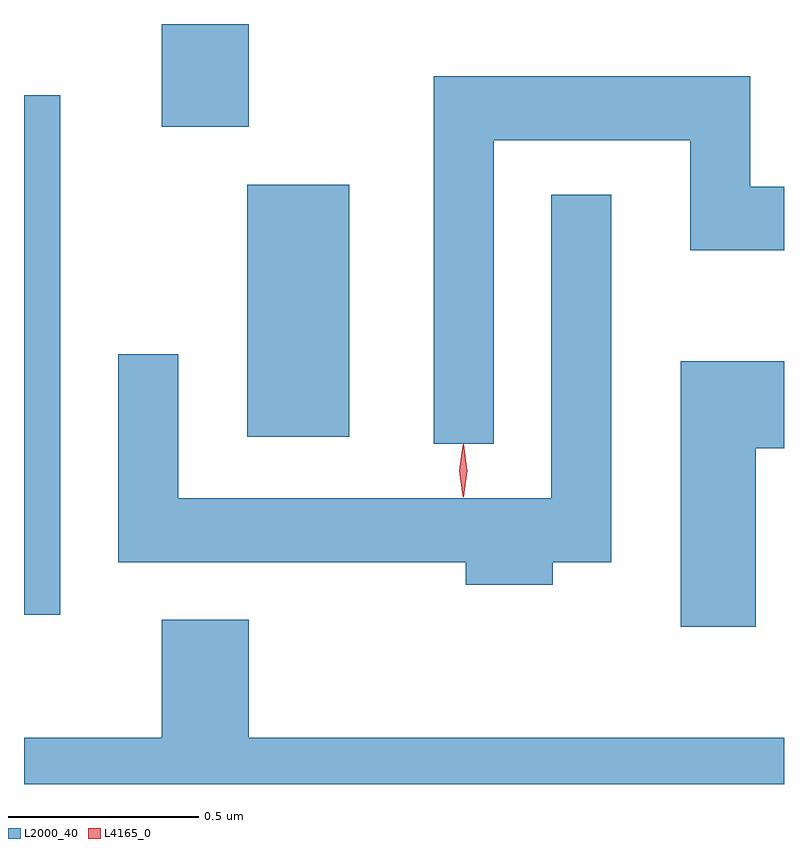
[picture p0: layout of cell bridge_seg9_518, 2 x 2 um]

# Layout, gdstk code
import gdstk
lib = gdstk.Library(unit=1e-6, precision=1e-09)
def R(c, l, rs):  # rectangles x0, y0, x1, y1
    for r in rs: c.add(gdstk.rectangle(r[:2], r[2:], *l))
def P(c, l, *ps):  # polygons
    for p in ps: c.add(gdstk.Polygon(p, *l))
L2000_40 = (2000, 40)
L4165_0 = (4165, 0)

bridge_seg9_518 = lib.new_cell('bridge_seg9_518')
R(bridge_seg9_518, L2000_40, [(557.668,1970.208,557.764,1971.574), (558.256,1970.676,558.524,1971.339), (558.031,1971.491,558.259,1971.762)])
P(bridge_seg9_518, L2000_40, [(558.904,1971.456),(559.421,1971.456),(559.421,1971.166),(559.668,1971.166),(559.668,1971.334),(559.579,1971.334),(559.579,1971.624),(558.746,1971.624),(558.746,1970.658),(558.904,1970.658)],
  [(559.059,1970.346),(559.214,1970.346),(559.214,1971.313),(559.056,1971.313),(559.056,1970.514),(558.074,1970.514),(558.074,1970.893),(557.916,1970.893),(557.916,1970.346),(558.831,1970.346),(558.831,1970.286),(559.059,1970.286)],
  [(559.594,1970.646),(559.668,1970.646),(559.668,1970.874),(559.396,1970.874),(559.396,1970.176),(559.594,1970.176)],
  [(559.668,1969.884),(558.259,1969.884),(558.259,1970.194),(558.031,1970.194),(558.031,1969.884),(557.668,1969.884),(557.668,1969.762),(559.668,1969.762)])
P(bridge_seg9_518, L4165_0, [(558.825,1970.517),(558.824,1970.518),(558.815,1970.586),(558.824,1970.656),(558.825,1970.656),(558.825,1970.656),(558.835,1970.586),(558.825,1970.518)],
  [(558.823,1970.519),(558.823,1970.52),(558.813,1970.586),(558.823,1970.652),(558.823,1970.653),(558.824,1970.652),(558.833,1970.586),(558.824,1970.52)])

lib.write_gds('bridge_seg9_518.gds')
